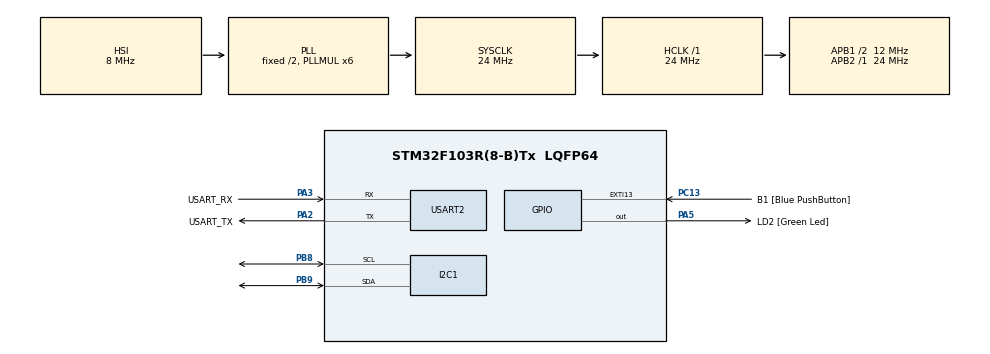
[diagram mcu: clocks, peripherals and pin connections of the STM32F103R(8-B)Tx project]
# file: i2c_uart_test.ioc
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Mcu.Family=STM32F1
Mcu.Name=STM32F103R(8-B)Tx
Mcu.Package=LQFP64
NVIC.EXTI15_10_IRQn=true\:0\:0\:false\:false\:true\:true\:true\:true
NVIC.PriorityGroup=NVIC_PRIORITYGROUP_4
PA13.GPIO_Label=TMS
PA13.Mode=Serial_Wire
PA13.Signal=SYS_JTMS-SWDIO
PA14.GPIO_Label=TCK
PA14.Mode=Serial_Wire
PA14.Signal=SYS_JTCK-SWCLK
PA2.GPIO_Label=USART_TX
PA2.GPIO_Mode=GPIO_MODE_AF_PP
PA2.GPIO_PuPd=GPIO_NOPULL
PA2.GPIO_Speed=GPIO_SPEED_FREQ_LOW
PA2.Mode=Asynchronous
PA2.Signal=USART2_TX
PA3.GPIO_Label=USART_RX
PA3.GPIO_Mode=GPIO_MODE_AF_PP
PA3.GPIO_PuPd=GPIO_NOPULL
PA3.GPIO_Speed=GPIO_SPEED_FREQ_LOW
PA3.Mode=Asynchronous
PA3.Signal=USART2_RX
PA5.GPIO_Label=LD2 [Green Led]
PA5.GPIO_ModeDefaultOutputPP=GPIO_MODE_OUTPUT_PP
PA5.GPIO_PuPd=GPIO_NOPULL
PA5.GPIO_Speed=GPIO_SPEED_FREQ_LOW
PA5.Signal=GPIO_Output
PB3.GPIO_Label=SWO
PB3.Signal=SYS_JTDO-TRACESWO
PB8.Mode=I2C
PB8.Signal=I2C1_SCL
PB9.Mode=I2C
PB9.Signal=I2C1_SDA
PC13-TAMPER-RTC.GPIO_Label=B1 [Blue PushButton]
PC13-TAMPER-RTC.GPIO_PuPd=GPIO_NOPULL
PC13-TAMPER-RTC.Signal=GPXTI13
PC14-OSC32_IN.Mode=LSE-External-Oscillator
PC14-OSC32_IN.Signal=RCC_OSC32_IN
PC15-OSC32_OUT.Mode=LSE-External-Oscillator
PC15-OSC32_OUT.Signal=RCC_OSC32_OUT
PD0-OSC_IN.Mode=HSE-External-Clock-Source
PD0-OSC_IN.Signal=RCC_OSC_IN
PD1-OSC_OUT.Mode=HSE-External-Clock-Source
PD1-OSC_OUT.Signal=RCC_OSC_OUT
ProjectManager.HeapSize=0x200
ProjectManager.StackSize=0x400
ProjectManager.TargetToolchain=MDK-ARM V5.32
RCC.AHBFreq_Value=24000000
RCC.APB1CLKDivider=RCC_HCLK_DIV2
RCC.APB1Freq_Value=12000000
RCC.APB1TimFreq_Value=24000000
RCC.APB2Freq_Value=24000000
RCC.APB2TimFreq_Value=24000000
RCC.HCLKFreq_Value=24000000
RCC.PLLMUL=RCC_PLL_MUL6
RCC.RTCClockSelection=RCC_RTCCLKSOURCE_LSE
RCC.SYSCLKFreq_VALUE=24000000
RCC.SYSCLKSource=RCC_SYSCLKSOURCE_PLLCLK
RCC.USBFreq_Value=24000000
USART2.VirtualMode=VM_ASYNC
board=NUCLEO-F103RB

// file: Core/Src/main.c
/* USER CODE BEGIN Header */
/**
  ******************************************************************************
  * @file           : main.c
  * @brief          : Main program body
  ******************************************************************************
  * @attention
  *
  * Copyright (c) 2023 STMicroelectronics.
  * All rights reserved.
  *
  * This software is licensed under terms that can be found in the LICENSE file
  * in the root directory of this software component.
  * If no LICENSE file comes with this software, it is provided AS-IS.
  *
  ******************************************************************************
  */
/* USER CODE END Header */
#include "main.h"

/* USER CODE BEGIN Includes */
#include "stdio.h"
#include "MPU6050.h"
#include "string.h"

/* USER CODE END Includes */

I2C_HandleTypeDef hi2c1;

UART_HandleTypeDef huart2;

void SystemClock_Config(void);
static void MX_GPIO_Init(void);
static void MX_I2C1_Init(void);
static void MX_USART2_UART_Init(void);

/* USER CODE BEGIN 0 */
void debugPrint(UART_HandleTypeDef *huart, char _out[]);
void debugPrintln(UART_HandleTypeDef *huart, char _out[]);
/* USER CODE END 0 */

int main(void)
{

  /* MCU Configuration--------------------------------------------------------*/

  /* Reset of all peripherals, Initializes the Flash interface and the Systick. */
  HAL_Init();

  /* Configure the system clock */
  SystemClock_Config();

  /* Initialize all configured peripherals */
  MX_GPIO_Init();
  MX_I2C1_Init();
  MX_USART2_UART_Init();
  /* USER CODE BEGIN 2 */
	char buf[4];
	MPU6050_init();

	debugPrintln(&huart2, "Init complete");
  /* USER CODE END 2 */

  /* Infinite loop */
  /* USER CODE BEGIN WHILE */
  while (1)
  {
		float ax, ay, az;
		MPU6050_Read_Accel(&ax, &ay, &az);

		char axBuffer[10];
		sprintf(axBuffer, "%d", (int)ax);
		char ayBuffer[10];
		sprintf(ayBuffer, "%d", (int)ay);
		char azBuffer[10];
		sprintf(azBuffer, "%d", (int)az);

		debugPrintln(&huart2, axBuffer);
		debugPrintln(&huart2, ayBuffer);
		debugPrintln(&huart2, azBuffer);

		float gx, gy, gz;
		MPU6050_Read_Gyro(&gx, &gy, &gz);
		char gxBuffer[10];
		sprintf(gxBuffer, "%d", (int)gx);

		char gyBuffer[10];
		sprintf(gyBuffer, "%d", (int)gy);

		char gzBuffer[10];
		sprintf(gzBuffer, "%d", (int)gz);

		debugPrintln(&huart2, gxBuffer);
		debugPrintln(&huart2, gyBuffer);
		debugPrintln(&huart2, gzBuffer);

		HAL_Delay(100);
    /* USER CODE END WHILE */

  }
}

void SystemClock_Config(void)
{
  RCC_OscInitTypeDef RCC_OscInitStruct = {0};
  RCC_ClkInitTypeDef RCC_ClkInitStruct = {0};

  /** Initializes the RCC Oscillators according to the specified parameters
  * in the RCC_OscInitTypeDef structure.
  */
  RCC_OscInitStruct.OscillatorType = RCC_OSCILLATORTYPE_HSI;
  RCC_OscInitStruct.HSIState = RCC_HSI_ON;
  RCC_OscInitStruct.HSICalibrationValue = RCC_HSICALIBRATION_DEFAULT;
  RCC_OscInitStruct.PLL.PLLState = RCC_PLL_ON;
  RCC_OscInitStruct.PLL.PLLSource = RCC_PLLSOURCE_HSI_DIV2;
  RCC_OscInitStruct.PLL.PLLMUL = RCC_PLL_MUL6;
  if (HAL_RCC_OscConfig(&RCC_OscInitStruct) != HAL_OK)
  {
    Error_Handler();
  }

  /** Initializes the CPU, AHB and APB buses clocks
  */
  RCC_ClkInitStruct.ClockType = RCC_CLOCKTYPE_HCLK|RCC_CLOCKTYPE_SYSCLK
                              |RCC_CLOCKTYPE_PCLK1|RCC_CLOCKTYPE_PCLK2;
  RCC_ClkInitStruct.SYSCLKSource = RCC_SYSCLKSOURCE_PLLCLK;
  RCC_ClkInitStruct.AHBCLKDivider = RCC_SYSCLK_DIV1;
  RCC_ClkInitStruct.APB1CLKDivider = RCC_HCLK_DIV2;
  RCC_ClkInitStruct.APB2CLKDivider = RCC_HCLK_DIV1;

  if (HAL_RCC_ClockConfig(&RCC_ClkInitStruct, FLASH_LATENCY_0) != HAL_OK)
  {
    Error_Handler();
  }
}

static void MX_I2C1_Init(void)
{

  hi2c1.Instance = I2C1;
  hi2c1.Init.ClockSpeed = 100000;
  hi2c1.Init.DutyCycle = I2C_DUTYCYCLE_2;
  hi2c1.Init.OwnAddress1 = 0;
  hi2c1.Init.AddressingMode = I2C_ADDRESSINGMODE_7BIT;
  hi2c1.Init.DualAddressMode = I2C_DUALADDRESS_DISABLE;
  hi2c1.Init.OwnAddress2 = 0;
  hi2c1.Init.GeneralCallMode = I2C_GENERALCALL_DISABLE;
  hi2c1.Init.NoStretchMode = I2C_NOSTRETCH_DISABLE;
  if (HAL_I2C_Init(&hi2c1) != HAL_OK)
  {
    Error_Handler();
  }

}

static void MX_USART2_UART_Init(void)
{

  huart2.Instance = USART2;
  huart2.Init.BaudRate = 115200;
  huart2.Init.WordLength = UART_WORDLENGTH_8B;
  huart2.Init.StopBits = UART_STOPBITS_1;
  huart2.Init.Parity = UART_PARITY_NONE;
  huart2.Init.Mode = UART_MODE_TX_RX;
  huart2.Init.HwFlowCtl = UART_HWCONTROL_NONE;
  huart2.Init.OverSampling = UART_OVERSAMPLING_16;
  if (HAL_UART_Init(&huart2) != HAL_OK)
  {
    Error_Handler();
  }

}

static void MX_GPIO_Init(void)
{
  GPIO_InitTypeDef GPIO_InitStruct = {0};

  /* GPIO Ports Clock Enable */
  __HAL_RCC_GPIOC_CLK_ENABLE();
  __HAL_RCC_GPIOD_CLK_ENABLE();
  __HAL_RCC_GPIOA_CLK_ENABLE();
  __HAL_RCC_GPIOB_CLK_ENABLE();

  /*Configure GPIO pin Output Level */
  HAL_GPIO_WritePin(LD2_GPIO_Port, LD2_Pin, GPIO_PIN_RESET);

  /*Configure GPIO pin : B1_Pin */
  GPIO_InitStruct.Pin = B1_Pin;
  GPIO_InitStruct.Mode = GPIO_MODE_IT_RISING;
  GPIO_InitStruct.Pull = GPIO_NOPULL;
  HAL_GPIO_Init(B1_GPIO_Port, &GPIO_InitStruct);

  /*Configure GPIO pin : LD2_Pin */
  GPIO_InitStruct.Pin = LD2_Pin;
  GPIO_InitStruct.Mode = GPIO_MODE_OUTPUT_PP;
  GPIO_InitStruct.Pull = GPIO_NOPULL;
  GPIO_InitStruct.Speed = GPIO_SPEED_FREQ_LOW;
  HAL_GPIO_Init(LD2_GPIO_Port, &GPIO_InitStruct);

  /* EXTI interrupt init*/
  HAL_NVIC_SetPriority(EXTI15_10_IRQn, 0, 0);
  HAL_NVIC_EnableIRQ(EXTI15_10_IRQn);

}

/* USER CODE BEGIN 4 */
void debugPrint(UART_HandleTypeDef *huart, char _out[]){
	HAL_UART_Transmit(huart, (uint8_t *) _out, strlen(_out), 10);
}

void debugPrintln(UART_HandleTypeDef *huart, char _out[]){
	HAL_UART_Transmit(huart, (uint8_t *) _out, strlen(_out), 10);
	char newline[2] = "\r\n";
	HAL_UART_Transmit(huart, (uint8_t *) newline, 2, 10);
}
/* USER CODE END 4 */

void Error_Handler(void)
{
  /* USER CODE BEGIN Error_Handler_Debug */
	debugPrintln(&huart2, "Error");
  /* User can add his own implementation to report the HAL error return state */
  __disable_irq();
  while (1)
  {
  }
  /* USER CODE END Error_Handler_Debug */
}
